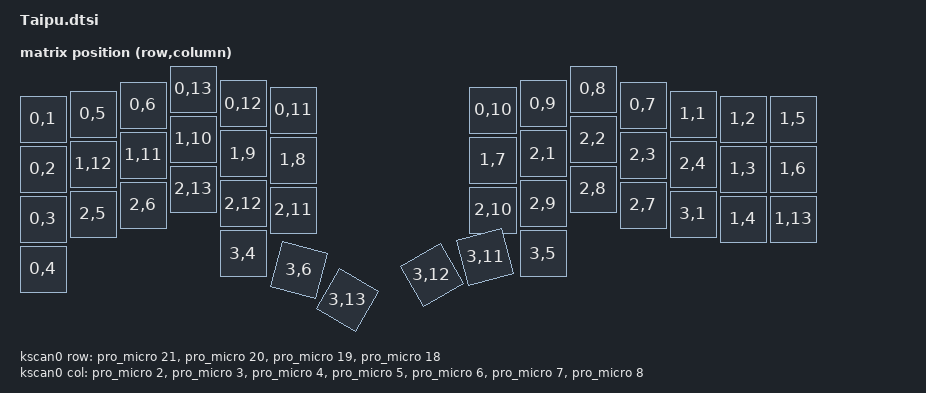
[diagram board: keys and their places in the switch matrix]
#include <dt-bindings/zmk/matrix_transform.h> // Put this with the other includes at the top of your dtsi
#include <physical_layouts.dtsi>

/ {
    chosen {
        zmk,kscan = &kscan0;
	zmk,physical-layout = &physical_layout0;
        // Other chosen items
    };


    kscan0: kscan0 {
        compatible = "zmk,kscan-gpio-matrix";
        diode-direction = "col2row";
        wakeup-source;

        row-gpios
            = <&pro_micro 21 (GPIO_ACTIVE_HIGH | GPIO_PULL_DOWN)>
            , <&pro_micro 20 (GPIO_ACTIVE_HIGH | GPIO_PULL_DOWN)>
            , <&pro_micro 19 (GPIO_ACTIVE_HIGH | GPIO_PULL_DOWN)>
            , <&pro_micro 18 (GPIO_ACTIVE_HIGH | GPIO_PULL_DOWN)>
            ;

	col-gpios
	    = <&pro_micro 2 GPIO_ACTIVE_HIGH>
	    , <&pro_micro 3 GPIO_ACTIVE_HIGH>
	    , <&pro_micro 4 GPIO_ACTIVE_HIGH>
	    , <&pro_micro 5 GPIO_ACTIVE_HIGH>
	    , <&pro_micro 6 GPIO_ACTIVE_HIGH>
	    , <&pro_micro 7 GPIO_ACTIVE_HIGH>
	    , <&pro_micro 8 GPIO_ACTIVE_HIGH>
	    ;

    };


    default_transform: keymap_transform0 {
        compatible = "zmk,matrix-transform";
        columns = <14>;
        rows = <4>;
        map = <
RC(0,1) RC(0,2) RC(0,3) RC(0,4) RC(0,5) RC(0,6)  RC(0,13) RC(0,12) RC(0,11) RC(0,10) RC(0,9) RC(0,8) RC(0,7)
RC(1,1) RC(1,2) RC(1,3) RC(1,4) RC(1,5) RC(1,6)  RC(1,13) RC(1,12) RC(1,11) RC(1,10) RC(1,9) RC(1,8) RC(1,7)
RC(2,1) RC(2,2) RC(2,3) RC(2,4) RC(2,5) RC(2,6)  RC(2,13) RC(2,12) RC(2,11) RC(2,10) RC(2,9) RC(2,8) RC(2,7)
RC(3,1)                 RC(3,4) RC(3,5) RC(3,6)  RC(3,13) RC(3,12) RC(3,11)
        >;
    };


    physical_layout0: physical_layout_0 { // First physical layout, use different naming for other layouts
        compatible = "zmk,physical-layout";
        display-name = "Default Layout";
        kscan = <&kscan0>; // Label of the kscan node, optional if all layouts use the same
        transform = <&default_transform>; // Label of the matrix transform for this layout

        keys  //                     w   h    x    y     rot    rx    ry
            = <&key_physical_attrs 100 100    0   60       0     0     0>
            , <&key_physical_attrs 100 100    0  160       0     0     0>
            , <&key_physical_attrs 100 100    0  260       0     0     0>
            , <&key_physical_attrs 100 100    0  360       0     0     0>
            , <&key_physical_attrs 100 100  100   50       0     0     0>
            , <&key_physical_attrs 100 100  200   32       0     0     0>
            , <&key_physical_attrs 100 100  300    0       0     0     0>
            , <&key_physical_attrs 100 100  400   29       0     0     0>
            , <&key_physical_attrs 100 100  500   42       0     0     0>
            , <&key_physical_attrs 100 100  900   42       0     0     0>
            , <&key_physical_attrs 100 100 1000   29       0     0     0>
            , <&key_physical_attrs 100 100 1100    0       0     0     0>
            , <&key_physical_attrs 100 100 1200   32       0     0     0>
            , <&key_physical_attrs 100 100 1300   50       0     0     0>
            , <&key_physical_attrs 100 100 1400   60       0     0     0>
            , <&key_physical_attrs 100 100 1400  160       0     0     0>
            , <&key_physical_attrs 100 100 1400  260       0     0     0>
            , <&key_physical_attrs 100 100 1500   60       0     0     0>
            , <&key_physical_attrs 100 100 1500  160       0     0     0>
            , <&key_physical_attrs 100 100 1500  260       0     0     0>
            , <&key_physical_attrs 100 100  100  150       0     0     0>
            , <&key_physical_attrs 100 100  200  132       0     0     0>
            , <&key_physical_attrs 100 100  300  100       0     0     0>
            , <&key_physical_attrs 100 100  400  129       0     0     0>
            , <&key_physical_attrs 100 100  500  142       0     0     0>
            , <&key_physical_attrs 100 100  900  142       0     0     0>
            , <&key_physical_attrs 100 100 1000  129       0     0     0>
            , <&key_physical_attrs 100 100 1100  100       0     0     0>
            , <&key_physical_attrs 100 100 1200  132       0     0     0>
            , <&key_physical_attrs 100 100 1300  150       0     0     0>
            , <&key_physical_attrs 100 100  100  250       0     0     0>
            , <&key_physical_attrs 100 100  200  232       0     0     0>
            , <&key_physical_attrs 100 100  300  200       0     0     0>
            , <&key_physical_attrs 100 100  400  229       0     0     0>
            , <&key_physical_attrs 100 100  500  242       0     0     0>
            , <&key_physical_attrs 100 100  900  242       0     0     0>
            , <&key_physical_attrs 100 100 1000  229       0     0     0>
            , <&key_physical_attrs 100 100 1100  200       0     0     0>
            , <&key_physical_attrs 100 100 1200  232       0     0     0>
            , <&key_physical_attrs 100 100 1300  250       0     0     0>
            , <&key_physical_attrs 100 100  400  329       0     0     0>
            , <&key_physical_attrs 100 100 1000  329       0     0     0>
            , <&key_physical_attrs 100 100  500  355    1500   530   455>
            , <&key_physical_attrs 100 100  600  355    3000   530   455>
            , <&key_physical_attrs 100 100  800  355 (-3000)   870   455>
            , <&key_physical_attrs 100 100  900  355 (-1500)   870   455>
            ;
    };
};
